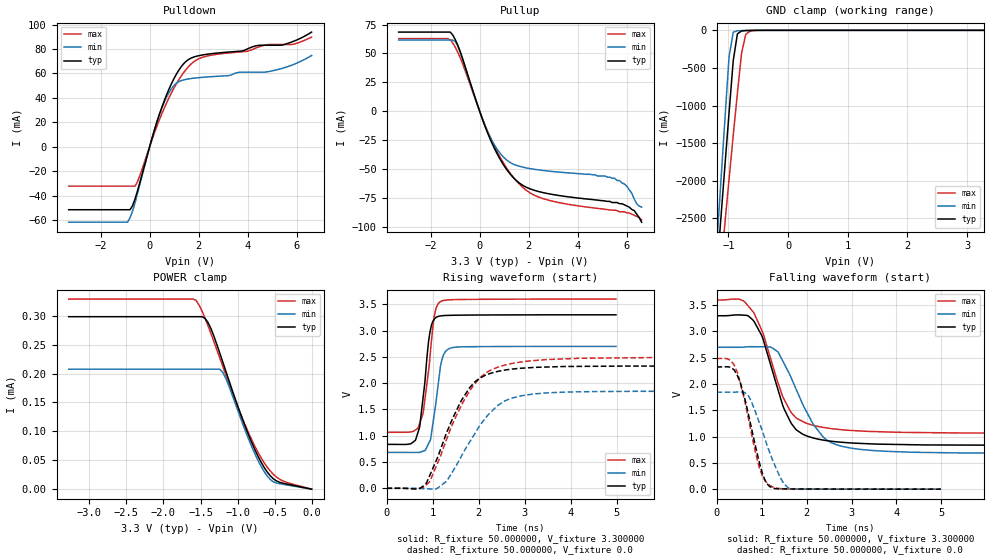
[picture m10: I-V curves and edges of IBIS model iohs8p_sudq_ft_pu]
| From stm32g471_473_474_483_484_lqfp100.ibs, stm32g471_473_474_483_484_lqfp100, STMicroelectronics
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|   Model iohs8p_sudq_ft_pu
[Model]  iohs8p_sudq_ft_pu
Model_type I/O
Polarity   Non-Inverting
Enable   Active-Low
Vinl =   0.990000V
Vinh =   2.310000V
Vmeas =  1.650000V
Cref =   30.000000pF
Rref =   100.000000M
Vref =   0.0V
C_comp   2.036400pF   1.984000pF   2.082300pF
[Temperature Range]   25.000000   -40.000000   0.125000k
[Pullup Reference]   3.300000V   2.700000V   3.600000V
[Pulldown Reference]   0.0V   0.0V   0.0V
[POWER Clamp Reference]   3.300000V   2.700000V   3.600000V
[GND Clamp Reference]   0.0V   0.0V   0.0V
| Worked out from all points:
|   slope of the pulldown table from 0 to 0.495 V, typ, clamps not added: 15.4 ohm
|   slope of the pullup table from 0 to 0.495 V, typ, clamps not added: 18.1 ohm
|   GND clamp passes 1 mA (typ) near -0.60 V on its own axis
|   rising waveform, R_fixture 50.000000, V_fixture 3.300000: 20-80 % time 174ps typ, 184ps min, 194ps max; typ from 0.836 V to 3.3 V
|   rising waveform, R_fixture 50.000000, V_fixture 0.0: 20-80 % time 717ps typ, 829ps min, 805ps max; typ from 0.001 V to 2.33 V
|   falling waveform, R_fixture 50.000000, V_fixture 3.300000: 20-80 % time 564ps typ, 726ps min, 617ps max; typ from 3.3 V to 0.836 V
|   falling waveform, R_fixture 50.000000, V_fixture 0.0: 20-80 % time 381ps typ, 478ps min, 388ps max; typ from 2.33 V to 0.001 V
[Pulldown]
|Voltage   I(typ)   I(min)   I(max)
-3.3V     -51.62mA   -61.84mA   -32.32mA
-900mV    -51.62mA   -61.84mA   -32.32mA
-800mV    -51.62mA   -58.24mA   -32.32mA
-500mV    -36.51mA   -38.7mA    -28.96mA
400mV     26.66mA    26.58mA    22.18mA
800mV     47.72mA    44.74mA    40.6mA
1.1V      59.79mA    52.18mA    51.93mA
1.5V      70.22mA    55.24mA    63.66mA
2.1V      74.97mA    56.75mA    72.88mA
4.9V      83.13mA    61.75mA    83.74mA
5.8V      85.85mA    66.87mA    83.74mA
6.6V      93.9mA     74.68mA    89.84mA
[Pullup]
|Voltage   I(typ)   I(min)   I(max)
-3.3V     68.46mA    61.58mA    62.86mA
-1.1V     66.07mA    61.58mA    59.18mA
-800mV    51.97mA    51.71mA    46.6mA
100mV     -6.166mA   -5.972mA   -5.649mA
500mV     -27.53mA   -25.31mA   -25.83mA
1V        -47.29mA   -40.29mA   -45.86mA
1.6V      -61.83mA   -47.51mA   -62.73mA
2.7V      -70.92mA   -51.53mA   -76.33mA
5.5V      -79mA      -58mA      -85.6mA
6V        -82mA      -65mA      -88mA
6.3V      -86mA      -76mA      -90mA
6.6V      -96mA      -83mA      -94mA
[GND_clamp]
|Voltage   I(typ)   I(min)   I(max)
-3.3V     -9.812A    -9.822A    -9.937A
-1.2V     -3.251A    -2.905A    -3.763A
-1.13V    -2.527A    -2.046A    -3.165A
-1.06V    -1.808A    -1.191A    -2.57A
-990mV    -1.097A    -352.6mA   -1.979A
-920mV    -404.2mA   -25.08mA   -1.398A
-850mV    -46.53mA   -6.503mA   -832.3mA
-780mV    -8.496mA   -3.578mA   -302.4mA
-710mV    -3.383mA   -1.716mA   -53.8mA
-640mV    -1.589mA   -553.8uA   -11.72mA
-360mV    -2.023uA   0A         -84.67uA
3.28V     0A         0A         0A
[POWER_clamp]
|Voltage   I(typ)   I(min)   I(max)
-3.28V    298.2uA    207.4uA    328.7uA
-1.56V    298.2uA    207.4uA    326.5uA
-1.48V    298.2uA    207.4uA    308.2uA
-1.4V     288.5uA    207.4uA    283.1uA
-1.24V    235.4uA    207.4uA    226.9uA
-1.2V     220.1uA    202.1uA    212.7uA
-1.12V    189.4uA    179.6uA    184.4uA
-920mV    116.5uA    109.4uA    118.1uA
-680mV    46.31uA    39.06uA    53.8uA
-560mV    23.38uA    16.91uA    31.65uA
-480mV    14.66uA    10.76uA    21.51uA
0V        0A         0A         0A
[Ramp]
| variable   typ   min   max
dV/dt_r  1.39450/0.71593n   1.10706/0.82803n   1.49028/0.80447n
dV/dt_f  1.47841/0.56319n   1.20961/0.72558n   1.52028/0.61628n
R_load = 50.000000
[Rising Waveform]
R_fixture= 50.000000
V_fixture= 3.300000
V_fixture_min= 2.700000
V_fixture_max= 3.600000
|time   V(typ)   V(min)   V(max)
0s        836mV      684mV      1.066V
530.5ps   849.2mV    682.9mV    1.074V
690.7ps   1.084V     683.5mV    1.163V
800.8ps   1.772V     708.4mV    1.465V
940.9ps   2.959V     900.3mV    2.467V
1.041ns   3.224V     1.433V     3.289V
1.161ns   3.278V     2.25V      3.546V
1.271ns   3.287V     2.591V     3.577V
1.431ns   3.291V     2.676V     3.588V
4.985ns   3.3V       2.7V       3.6V
[Rising Waveform]
R_fixture= 50.000000
V_fixture= 0.0
V_fixture_min= 0.0
V_fixture_max= 0.0
|time   V(typ)   V(min)   V(max)
0s        956.8uV    604.2uV    1.547mV
734.1ps   2.235mV    -2.721mV   2.959mV
934.3ps   235.6mV    -10.91mV   120.5mV
1.101ns   570.8mV    -326uV     464.2mV
1.301ns   1.049V     133.4mV    923.7mV
1.602ns   1.63V      571.5mV    1.532V
1.902ns   2.011V     1.019V     1.967V
2.402ns   2.221V     1.565V     2.299V
2.803ns   2.274V     1.733V     2.387V
16.62ns   2.325V     1.846V     2.486V
[Falling Waveform]
R_fixture= 50.000000
V_fixture= 3.300000
V_fixture_min= 2.700000
V_fixture_max= 3.600000
|time   V(typ)   V(min)   V(max)
0s        3.3V       2.7V       3.6V
500.5ps   3.315V     2.7V       3.616V
834.2ps   3.192V     2.711V     3.348V
1.034ns   2.857V     2.709V     2.967V
1.368ns   1.888V     2.611V     2.023V
1.768ns   1.132V     1.904V     1.356V
2.336ns   939.4mV    1.031V     1.181V
2.936ns   883.1mV    789.9mV    1.121V
4.371ns   845.8mV    702.6mV    1.079V
16.62ns   836mV      684mV      1.066V
[Falling Waveform]
R_fixture= 50.000000
V_fixture= 0.0
V_fixture_min= 0.0
V_fixture_max= 0.0
|time   V(typ)   V(min)   V(max)
0s        2.325V     1.846V     2.486V
310.3ps   2.321V     1.846V     2.45V
450.5ps   2.187V     1.848V     2.246V
710.7ps   1.415V     1.775V     1.332V
951ps     513.3mV    1.268V     409.8mV
1.031ns   266.2mV    1.076V     232.2mV
1.181ns   52.42mV    701.3mV    74.13mV
1.491ns   5.086mV    111.4mV    7.475mV
1.662ns   3.855mV    12.83mV    5.118mV
4.985ns   956.8uV    604.2uV    1.547mV
